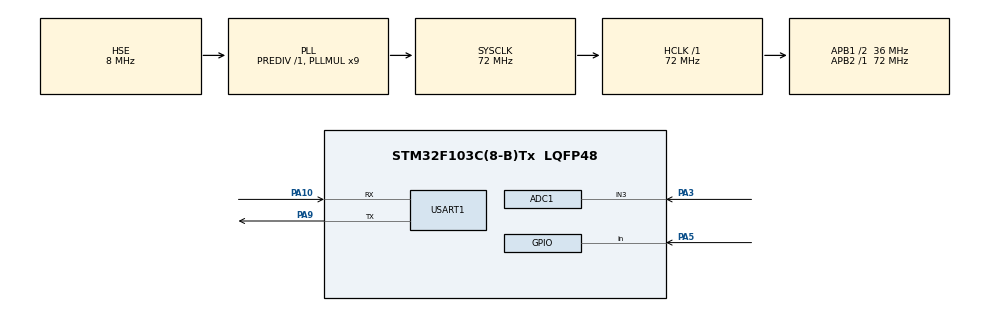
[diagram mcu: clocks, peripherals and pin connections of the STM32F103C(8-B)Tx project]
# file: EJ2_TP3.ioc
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ADC1.Channel-1\#ChannelRegularConversion=ADC_CHANNEL_3
ADC1.NbrOfConversionFlag=1
ADC1.Rank-1\#ChannelRegularConversion=1
ADC1.SamplingTime-1\#ChannelRegularConversion=ADC_SAMPLETIME_1CYCLE_5
ADC1.master=1
Mcu.Family=STM32F1
Mcu.Name=STM32F103C(8-B)Tx
Mcu.Package=LQFP48
NVIC.PriorityGroup=NVIC_PRIORITYGROUP_4
PA10.Mode=Asynchronous
PA10.Signal=USART1_RX
PA13.Mode=Serial_Wire
PA13.Signal=SYS_JTMS-SWDIO
PA14.Mode=Serial_Wire
PA14.Signal=SYS_JTCK-SWCLK
PA3.Signal=ADCx_IN3
PA5.GPIO_PuPd=GPIO_PULLUP
PA5.Signal=GPIO_Input
PA9.Mode=Asynchronous
PA9.Signal=USART1_TX
PD0-OSC_IN.Mode=HSE-External-Oscillator
PD0-OSC_IN.Signal=RCC_OSC_IN
PD1-OSC_OUT.Mode=HSE-External-Oscillator
PD1-OSC_OUT.Signal=RCC_OSC_OUT
ProjectManager.HeapSize=0x200
ProjectManager.StackSize=0x400
ProjectManager.TargetToolchain=STM32CubeIDE
RCC.ADCPresc=RCC_ADCPCLK2_DIV6
RCC.AHBFreq_Value=72000000
RCC.APB1CLKDivider=RCC_HCLK_DIV2
RCC.APB1Freq_Value=36000000
RCC.APB1TimFreq_Value=72000000
RCC.APB2Freq_Value=72000000
RCC.APB2TimFreq_Value=72000000
RCC.HCLKFreq_Value=72000000
RCC.PLLMUL=RCC_PLL_MUL9
RCC.PLLSourceVirtual=RCC_PLLSOURCE_HSE
RCC.SYSCLKFreq_VALUE=72000000
RCC.SYSCLKSource=RCC_SYSCLKSOURCE_PLLCLK
RCC.USBFreq_Value=72000000
SH.ADCx_IN3.0=ADC1_IN3,IN3
USART1.VirtualMode=VM_ASYNC
board=custom

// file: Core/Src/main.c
/* USER CODE BEGIN Header */
/**
  ******************************************************************************
  * @file           : main.c
  * @brief          : Main program body
  ******************************************************************************
  * @attention
  *
  * Copyright (c) 2026 STMicroelectronics.
  * All rights reserved.
  *
  * This software is licensed under terms that can be found in the LICENSE file
  * in the root directory of this software component.
  * If no LICENSE file comes with this software, it is provided AS-IS.
  *
  ******************************************************************************
  */
/* USER CODE END Header */
#include "main.h"

/* USER CODE BEGIN Includes */
#include <string.h>
#include <stdio.h>
#include "variable.h"
/* USER CODE END Includes */

ADC_HandleTypeDef hadc1;

UART_HandleTypeDef huart1;

void SystemClock_Config(void);
static void MX_GPIO_Init(void);
static void MX_ADC1_Init(void);
static void MX_USART1_UART_Init(void);

/* USER CODE BEGIN 0 */

static float valor_anterior = 0;

void imprimir_estado(var_t* variable){
	  char cadena[50];
	  switch(var_get_state(variable)){
	  case VAR_NORMAL:
		  if ( (variable->valor < 0.95f*valor_anterior) || (variable->valor > 1.05f*valor_anterior) ){
		  sprintf(cadena, "Valor: %d, ESTADO NORMAL\r\n", (int)variable->valor);
		  HAL_UART_Transmit(&huart1, (uint8_t*)cadena, strlen(cadena), 100);
		  valor_anterior = variable->valor;
		  }
		  break;

	  case VAR_LO:
		  sprintf(cadena, "Valor: %d, ALARMA BAJA\r\n", (int)variable->valor);
		  HAL_UART_Transmit(&huart1, (uint8_t*)cadena, strlen(cadena), 100);
		  valor_anterior = variable->valor;
		  break;

	  case VAR_HI:sprintf(cadena, "Valor: %d, ALARMA ALTA\r\n", (int)variable->valor);
		  HAL_UART_Transmit(&huart1, (uint8_t*)cadena, strlen(cadena), 100);
		  valor_anterior = variable->valor;
		  break;

	  case VAR_WAITING_ACK:
		 sprintf(cadena, "Valor: %d, RECONOCIMIENTO DE ALARMA PENDIENTE\r\n", (int)variable->valor);
		  HAL_UART_Transmit(&huart1, (uint8_t*)cadena, strlen(cadena), 100);
		  valor_anterior = variable->valor;
		  break;

	  default: break;
	  }
}
/* USER CODE END 0 */

int main(void)
{

  /* MCU Configuration--------------------------------------------------------*/

  /* Reset of all peripherals, Initializes the Flash interface and the Systick. */
  HAL_Init();

  /* Configure the system clock */
  SystemClock_Config();

  /* Initialize all configured peripherals */
  MX_GPIO_Init();
  MX_ADC1_Init();
  MX_USART1_UART_Init();
  /* USER CODE BEGIN 2 */
  //HAL_ADC_Start_IT(&hadc1);
  //HAL_TIM_Base_Start(&htim3);
  var_t v;
  var_init(&v, 3000, 4000, 1000);
  int flag = 1;
  uint32_t lastTick1 = 0;
  uint32_t lastTick2 = 0;
  uint32_t lastTick3 = 0;
  uint32_t periodo1 = 100;
  uint32_t periodo2 = 1000;
  uint32_t periodo3 = 20;
  /* USER CODE END 2 */

  /* Infinite loop */
  while (1)
  {

    /* USER CODE BEGIN 3 */
	  if (flag == 1){
		  HAL_Delay(3000);
		  flag = 0;
	  }

	  if(HAL_GetTick()-lastTick1>=periodo1){
 		  lastTick1=HAL_GetTick();
		  HAL_ADC_Start(&hadc1);
		  if (HAL_ADC_PollForConversion(&hadc1, 1) == HAL_OK) {
			  var_set_val(&v, (float)HAL_ADC_GetValue(&hadc1));
		  }
	  }

	  if(HAL_GetTick()-lastTick2>=periodo2){
		  lastTick2=HAL_GetTick();
		  imprimir_estado(&v);
	  }
	  if(HAL_GetTick()-lastTick3>=periodo3){
	  lastTick3=HAL_GetTick();
	  if (HAL_GPIO_ReadPin(GPIOA, GPIO_PIN_5) == GPIO_PIN_RESET){
		  var_ack_alarm(&v);
	  }
	  }

  }
  /* USER CODE END 3 */
}

void SystemClock_Config(void)
{
  RCC_OscInitTypeDef RCC_OscInitStruct = {0};
  RCC_ClkInitTypeDef RCC_ClkInitStruct = {0};
  RCC_PeriphCLKInitTypeDef PeriphClkInit = {0};

  /** Initializes the RCC Oscillators according to the specified parameters
  * in the RCC_OscInitTypeDef structure.
  */
  RCC_OscInitStruct.OscillatorType = RCC_OSCILLATORTYPE_HSE;
  RCC_OscInitStruct.HSEState = RCC_HSE_ON;
  RCC_OscInitStruct.HSEPredivValue = RCC_HSE_PREDIV_DIV1;
  RCC_OscInitStruct.HSIState = RCC_HSI_ON;
  RCC_OscInitStruct.PLL.PLLState = RCC_PLL_ON;
  RCC_OscInitStruct.PLL.PLLSource = RCC_PLLSOURCE_HSE;
  RCC_OscInitStruct.PLL.PLLMUL = RCC_PLL_MUL9;
  if (HAL_RCC_OscConfig(&RCC_OscInitStruct) != HAL_OK)
  {
    Error_Handler();
  }

  /** Initializes the CPU, AHB and APB buses clocks
  */
  RCC_ClkInitStruct.ClockType = RCC_CLOCKTYPE_HCLK|RCC_CLOCKTYPE_SYSCLK
                              |RCC_CLOCKTYPE_PCLK1|RCC_CLOCKTYPE_PCLK2;
  RCC_ClkInitStruct.SYSCLKSource = RCC_SYSCLKSOURCE_PLLCLK;
  RCC_ClkInitStruct.AHBCLKDivider = RCC_SYSCLK_DIV1;
  RCC_ClkInitStruct.APB1CLKDivider = RCC_HCLK_DIV2;
  RCC_ClkInitStruct.APB2CLKDivider = RCC_HCLK_DIV1;

  if (HAL_RCC_ClockConfig(&RCC_ClkInitStruct, FLASH_LATENCY_2) != HAL_OK)
  {
    Error_Handler();
  }
  PeriphClkInit.PeriphClockSelection = RCC_PERIPHCLK_ADC;
  PeriphClkInit.AdcClockSelection = RCC_ADCPCLK2_DIV6;
  if (HAL_RCCEx_PeriphCLKConfig(&PeriphClkInit) != HAL_OK)
  {
    Error_Handler();
  }
}

static void MX_ADC1_Init(void)
{

  ADC_ChannelConfTypeDef sConfig = {0};

  /** Common config
  */
  hadc1.Instance = ADC1;
  hadc1.Init.ScanConvMode = ADC_SCAN_DISABLE;
  hadc1.Init.ContinuousConvMode = DISABLE;
  hadc1.Init.DiscontinuousConvMode = DISABLE;
  hadc1.Init.ExternalTrigConv = ADC_SOFTWARE_START;
  hadc1.Init.DataAlign = ADC_DATAALIGN_RIGHT;
  hadc1.Init.NbrOfConversion = 1;
  if (HAL_ADC_Init(&hadc1) != HAL_OK)
  {
    Error_Handler();
  }

  /** Configure Regular Channel
  */
  sConfig.Channel = ADC_CHANNEL_3;
  sConfig.Rank = ADC_REGULAR_RANK_1;
  sConfig.SamplingTime = ADC_SAMPLETIME_1CYCLE_5;
  if (HAL_ADC_ConfigChannel(&hadc1, &sConfig) != HAL_OK)
  {
    Error_Handler();
  }

}

static void MX_USART1_UART_Init(void)
{

  huart1.Instance = USART1;
  huart1.Init.BaudRate = 115200;
  huart1.Init.WordLength = UART_WORDLENGTH_8B;
  huart1.Init.StopBits = UART_STOPBITS_1;
  huart1.Init.Parity = UART_PARITY_NONE;
  huart1.Init.Mode = UART_MODE_TX_RX;
  huart1.Init.HwFlowCtl = UART_HWCONTROL_NONE;
  huart1.Init.OverSampling = UART_OVERSAMPLING_16;
  if (HAL_UART_Init(&huart1) != HAL_OK)
  {
    Error_Handler();
  }

}

static void MX_GPIO_Init(void)
{
  GPIO_InitTypeDef GPIO_InitStruct = {0};

  /* GPIO Ports Clock Enable */
  __HAL_RCC_GPIOD_CLK_ENABLE();
  __HAL_RCC_GPIOA_CLK_ENABLE();

  /*Configure GPIO pin : PA5 */
  GPIO_InitStruct.Pin = GPIO_PIN_5;
  GPIO_InitStruct.Mode = GPIO_MODE_INPUT;
  GPIO_InitStruct.Pull = GPIO_PULLUP;
  HAL_GPIO_Init(GPIOA, &GPIO_InitStruct);

}

void Error_Handler(void)
{
  __disable_irq();
  while (1)
  {
  }
}
